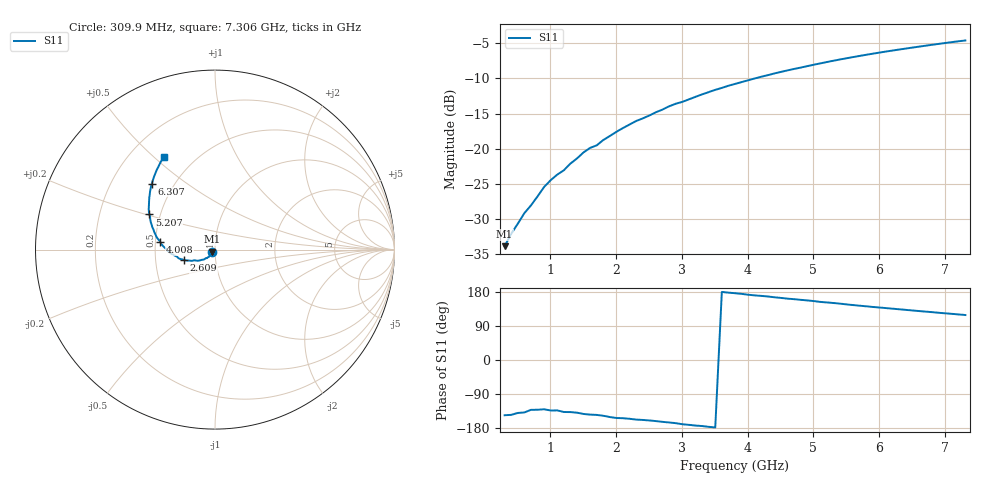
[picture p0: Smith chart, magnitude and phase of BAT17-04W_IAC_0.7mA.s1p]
! Infineon Technologies  Discrete & RF Semiconductors
! BAT17-04W
! IAC = 0.7 mA
! One-Port S-Parameters
# Hz  S  MA  R  50
!f  S11
!Hz  Mag  Ang
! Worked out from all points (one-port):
!   71 points, 309.9 MHz to 7.306 GHz, reference 50 ohm
!   lowest |S11| = -33.9 dB at 309.9 MHz (marker M1), VSWR 1.04, Z = 48.3 - j1.1 ohm
!   |S11| at or under -10 dB: start of sweep to 4.107 GHz
!   S11 on the Smith chart (normalised r, x): 309.9 MHz: 0.97, -0.02; 2.609 GHz: 0.70, -0.08; 4.008 GHz: 0.53, +0.05; 5.207 GHz: 0.44, +0.21; 6.307 GHz: 0.38, +0.37; 7.306 GHz: 0.34, +0.54
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3.0985e8  0.02018 -145.8
4.098e8  0.02471 -144.8
6.097e8  0.03471 -138.4
7.0965e8  0.03937 -131.5
9.0955e8  0.05328 -130.0
1.0095e9  0.05961 -133.3
1.2094e9  0.07013 -137.2
1.30935e9  0.0783 -137.5
1.50925e9  0.0941 -142.4
1.6092e9  0.1013 -144.1
1.70915e9  0.1056 -144.9
1.8091e9  0.1153 -147.2
2.10895e9  0.1403 -153.6
2.30885e9  0.1575 -157.3
2.6087e9  0.1819 -161.3
2.8086e9  0.2004 -164.9
3.0085e9  0.2154 -169.5
3.30835e9  0.2437 -174.3
3.8081e9  0.2891 176.3
4.008e9  0.307 172.3
4.30785e9  0.334 167.6
4.70765e9  0.3699 160.5
5.2074e9  0.4145 151.8
5.6072e9  0.4497 144.9
6.30685e9  0.509 133.8
6.50675e9  0.5254 130.6
6.8066e9  0.5501 126.2
7.30635e9  0.5901 118.6
